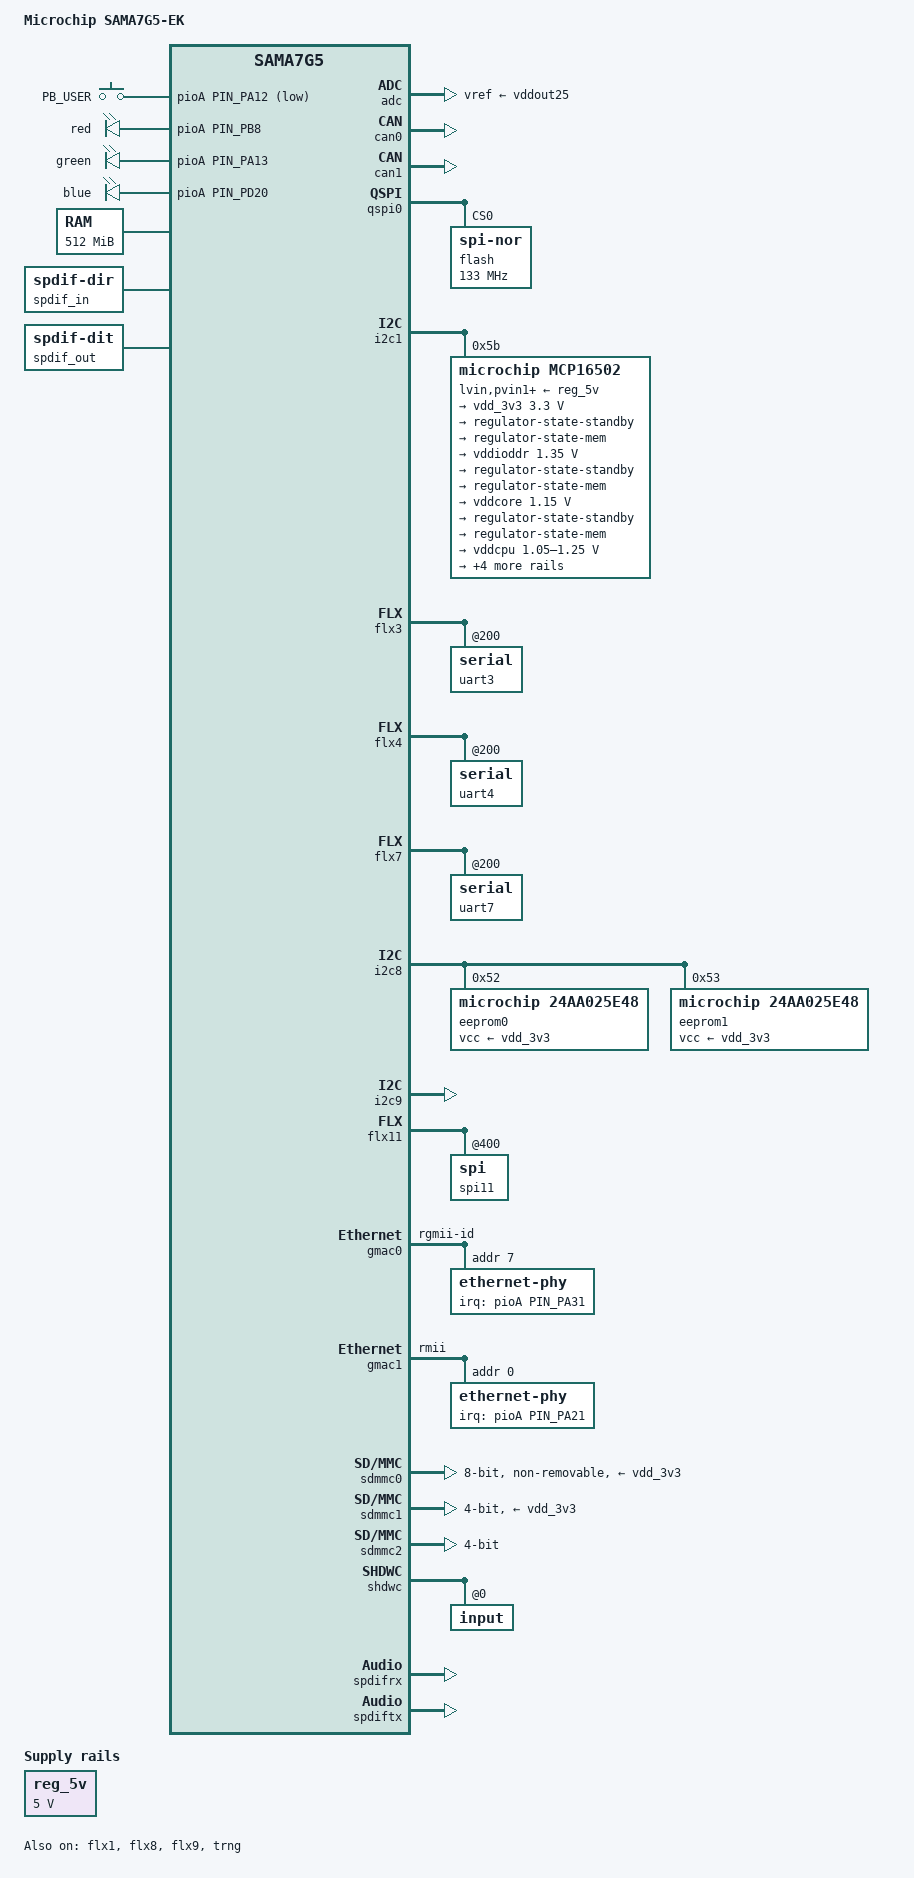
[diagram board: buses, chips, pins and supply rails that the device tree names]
// SPDX-License-Identifier: (GPL-2.0+ OR MIT)
/*
 *  at91-sama7g5ek.dts - Device Tree file for SAMA7G5-EK board
 *
 *  Copyright (c) 2020 Microchip Technology Inc. and its subsidiaries
 *
 *  Author: Eugen Hristev <eugen.hristev@microchip.com>
 *  Author: Claudiu Beznea <claudiu.beznea@microchip.com>
 *
 */
/dts-v1/;
#include "sama7g5-pinfunc.h"
#include "sama7g5.dtsi"
#include <dt-bindings/mfd/atmel-flexcom.h>
#include <dt-bindings/input/input.h>
#include <dt-bindings/pinctrl/at91.h>
#include <dt-bindings/sound/microchip,pdmc.h>

/ {
	model = "Microchip SAMA7G5-EK";
	compatible = "microchip,sama7g5ek", "microchip,sama7g5", "microchip,sama7";

	chosen {
		bootargs = "rw root=/dev/mmcblk1p2 rootfstype=ext4 rootwait";
		stdout-path = "serial0:115200n8";
	};

	aliases {
		serial0 = &uart3;
		serial1 = &uart4;
		serial2 = &uart7;
		serial3 = &uart0;
		i2c0 = &i2c1;
		i2c1 = &i2c8;
		i2c2 = &i2c9;
	};

	clocks {
		slow_xtal {
			clock-frequency = <32768>;
		};

		main_xtal {
			clock-frequency = <24000000>;
		};
	};

	gpio-keys {
		compatible = "gpio-keys";

		pinctrl-names = "default";
		pinctrl-0 = <&pinctrl_key_gpio_default>;

		button {
			label = "PB_USER";
			gpios = <&pioA PIN_PA12 GPIO_ACTIVE_LOW>;
			linux,code = <KEY_PROG1>;
			wakeup-source;
		};
	};

	leds {
		compatible = "gpio-leds";
		pinctrl-names = "default";
		pinctrl-0 = <&pinctrl_led_gpio_default>;
		status = "okay"; /* Conflict with pwm. */

		red_led {
			label = "red";
			gpios = <&pioA PIN_PB8 GPIO_ACTIVE_HIGH>;
		};

		green_led {
			label = "green";
			gpios = <&pioA PIN_PA13 GPIO_ACTIVE_HIGH>;
		};

		blue_led {
			label = "blue";
			gpios = <&pioA PIN_PD20 GPIO_ACTIVE_HIGH>;
			linux,default-trigger = "heartbeat";
		};
	};

	/* 512 M */
	memory@60000000 {
		device_type = "memory";
		reg = <0x60000000 0x20000000>;
	};

	reg_5v: regulator-5v {
		compatible = "regulator-fixed";
		regulator-name = "5V_MAIN";
		regulator-min-microvolt = <5000000>;
		regulator-max-microvolt = <5000000>;
		regulator-always-on;
	};

	sound: sound {
		compatible = "simple-audio-card";
		simple-audio-card,name = "sama7g5ek audio";
		#address-cells = <1>;
		#size-cells = <0>;
		simple-audio-card,dai-link@0 {
			reg = <0>;
			cpu {
				sound-dai = <&spdiftx>;
			};
			codec {
				sound-dai = <&spdif_out>;
			};
		};
		simple-audio-card,dai-link@1 {
			reg = <1>;
			cpu {
				sound-dai = <&spdifrx>;
			};
			codec {
				sound-dai = <&spdif_in>;
			};
		};
	};

	spdif_in: spdif-in {
		#sound-dai-cells = <0>;
		compatible = "linux,spdif-dir";
	};

	spdif_out: spdif-out {
		#sound-dai-cells = <0>;
		compatible = "linux,spdif-dit";
	};
};

&adc {
	vddana-supply = <&vddout25>;
	vref-supply = <&vddout25>;
	pinctrl-names = "default";
	pinctrl-0 = <&pinctrl_mikrobus1_an_default &pinctrl_mikrobus2_an_default>;
	status = "okay";
};

&can0 {
	pinctrl-names = "default";
	pinctrl-0 = <&pinctrl_can0_default>;
	status = "okay";
};

&can1 {
	pinctrl-names = "default";
	pinctrl-0 = <&pinctrl_can1_default>;
	status = "okay";
};

&cpu0 {
	cpu-supply = <&vddcpu>;
};

&qspi0 {
	pinctrl-names = "default";
	pinctrl-0 = <&pinctrl_qspi>;
	status = "okay";

	flash@0 {
		#address-cells = <1>;
		#size-cells = <1>;
		compatible = "jedec,spi-nor";
		reg = <0>;
		spi-max-frequency = <133000000>;
		spi-tx-bus-width = <8>;
		spi-rx-bus-width = <8>;
		m25p,fast-read;

		at91bootstrap@0 {
			label = "ospi: at91bootstrap";
			reg = <0x0 0x40000>;
		};

		bootloader@40000 {
			label = "ospi: bootloader";
			reg = <0x40000 0xc0000>;
		};

		bootloaderenvred@100000 {
			label = "ospi: bootloader env redundant";
			reg = <0x100000 0x40000>;
		};

		bootloaderenv@140000 {
			label = "ospi: bootloader env";
			reg = <0x140000 0x40000>;
		};

		dtb@180000 {
			label = "ospi: device tree";
			reg = <0x180000 0x80000>;
		};

		kernel@200000 {
			label = "ospi: kernel";
			reg = <0x200000 0x600000>;
		};

		rootfs@800000 {
			label = "ospi: rootfs";
			reg = <0x800000 0x7800000>;
		};

	};
};

&dma0 {
	status = "okay";
};

&dma1 {
	status = "okay";
};

&dma2 {
	status = "okay";
};

&flx0 {
	atmel,flexcom-mode = <ATMEL_FLEXCOM_MODE_USART>;
	status = "disabled";

	uart0: serial@200 {
		pinctrl-names = "default";
		pinctrl-0 = <&pinctrl_flx0_default>;
		status = "disabled";
	};
};

&flx1 {
	atmel,flexcom-mode = <ATMEL_FLEXCOM_MODE_TWI>;
	status = "okay";

	i2c1: i2c@600 {
		pinctrl-names = "default";
		pinctrl-0 = <&pinctrl_i2c1_default>;
		i2c-analog-filter;
		i2c-digital-filter;
		i2c-digital-filter-width-ns = <35>;
		status = "okay";

		mcp16502@5b {
			compatible = "microchip,mcp16502";
			reg = <0x5b>;
			lvin-supply = <&reg_5v>;
			pvin1-supply = <&reg_5v>;
			pvin2-supply = <&reg_5v>;
			pvin3-supply = <&reg_5v>;
			pvin4-supply = <&reg_5v>;
			status = "okay";

			regulators {
				vdd_3v3: VDD_IO {
					regulator-name = "VDD_IO";
					regulator-min-microvolt = <3300000>;
					regulator-max-microvolt = <3300000>;
					regulator-initial-mode = <2>;
					regulator-allowed-modes = <2>, <4>;
					regulator-always-on;

					regulator-state-standby {
						regulator-on-in-suspend;
						regulator-suspend-microvolt = <3300000>;
						regulator-mode = <4>;
					};

					regulator-state-mem {
						regulator-off-in-suspend;
						regulator-mode = <4>;
					};
				};

				vddioddr: VDD_DDR {
					regulator-name = "VDD_DDR";
					regulator-min-microvolt = <1350000>;
					regulator-max-microvolt = <1350000>;
					regulator-initial-mode = <2>;
					regulator-allowed-modes = <2>, <4>;
					regulator-always-on;

					regulator-state-standby {
						regulator-on-in-suspend;
						regulator-suspend-microvolt = <1350000>;
						regulator-mode = <4>;
					};

					regulator-state-mem {
						regulator-on-in-suspend;
						regulator-suspend-microvolt = <1350000>;
						regulator-mode = <4>;
					};
				};

				vddcore: VDD_CORE {
					regulator-name = "VDD_CORE";
					regulator-min-microvolt = <1150000>;
					regulator-max-microvolt = <1150000>;
					regulator-initial-mode = <2>;
					regulator-allowed-modes = <2>, <4>;
					regulator-always-on;

					regulator-state-standby {
						regulator-on-in-suspend;
						regulator-suspend-microvolt = <1150000>;
						regulator-mode = <4>;
					};

					regulator-state-mem {
						regulator-off-in-suspend;
						regulator-mode = <4>;
					};
				};

				vddcpu: VDD_OTHER {
					regulator-name = "VDD_OTHER";
					regulator-min-microvolt = <1050000>;
					regulator-max-microvolt = <1250000>;
					regulator-initial-mode = <2>;
					regulator-allowed-modes = <2>, <4>;
					regulator-ramp-delay = <3125>;
					regulator-always-on;

					regulator-state-standby {
						regulator-on-in-suspend;
						regulator-suspend-microvolt = <1050000>;
						regulator-mode = <4>;
					};

					regulator-state-mem {
						regulator-off-in-suspend;
						regulator-mode = <4>;
					};
				};

				vldo1: LDO1 {
					regulator-name = "LDO1";
					regulator-min-microvolt = <1800000>;
					regulator-max-microvolt = <1800000>;
					regulator-always-on;

					regulator-state-standby {
						regulator-suspend-microvolt = <1800000>;
						regulator-on-in-suspend;
					};

					regulator-state-mem {
						regulator-off-in-suspend;
					};
				};

				vldo2: LDO2 {
					regulator-name = "LDO2";
					regulator-min-microvolt = <1200000>;
					regulator-max-microvolt = <3700000>;

					regulator-state-standby {
						regulator-suspend-microvolt = <1800000>;
						regulator-on-in-suspend;
					};

					regulator-state-mem {
						regulator-off-in-suspend;
					};
				};
			};
		};
	};
};

&flx3 {
	atmel,flexcom-mode = <ATMEL_FLEXCOM_MODE_USART>;
	status = "okay";

	uart3: serial@200 {
		pinctrl-names = "default";
		pinctrl-0 = <&pinctrl_flx3_default>;
		status = "okay";
	};
};

&flx4 {
	atmel,flexcom-mode = <ATMEL_FLEXCOM_MODE_USART>;
	status = "okay";

	uart4: serial@200 {
		pinctrl-names = "default";
		pinctrl-0 = <&pinctrl_flx4_default>;
		status = "okay";
	};
};

&flx7 {
	atmel,flexcom-mode = <ATMEL_FLEXCOM_MODE_USART>;
	status = "okay";

	uart7: serial@200 {
		pinctrl-names = "default";
		pinctrl-0 = <&pinctrl_flx7_default>;
		status = "okay";
	};
};

&flx8 {
	atmel,flexcom-mode = <ATMEL_FLEXCOM_MODE_TWI>;
	status = "okay";

	i2c8: i2c@600 {
		pinctrl-names = "default";
		pinctrl-0 = <&pinctrl_i2c8_default>;
		i2c-analog-filter;
		i2c-digital-filter;
		i2c-digital-filter-width-ns = <35>;
		status = "okay";

		eeprom0: eeprom@52 {
			compatible = "microchip,24aa025e48";
			reg = <0x52>;
			size = <256>;
			pagesize = <16>;
			vcc-supply = <&vdd_3v3>;

			nvmem-layout {
				compatible = "fixed-layout";
				#address-cells = <1>;
				#size-cells = <1>;

				eeprom0_eui48: eui48@fa {
					reg = <0xfa 0x6>;
				};
			};
		};

		eeprom1: eeprom@53 {
			compatible = "microchip,24aa025e48";
			reg = <0x53>;
			size = <256>;
			pagesize = <16>;
			vcc-supply = <&vdd_3v3>;

			nvmem-layout {
				compatible = "fixed-layout";
				#address-cells = <1>;
				#size-cells = <1>;

				eeprom1_eui48: eui48@fa {
					reg = <0xfa 0x6>;
				};
			};
		};
	};
};

&flx9 {
	atmel,flexcom-mode = <ATMEL_FLEXCOM_MODE_TWI>;
	status = "okay";

	i2c9: i2c@600 {
		pinctrl-names = "default";
		pinctrl-0 = <&pinctrl_i2c9_default>;
		i2c-analog-filter;
		i2c-digital-filter;
		i2c-digital-filter-width-ns = <35>;
		status = "okay";
	};
};

&flx11 {
	atmel,flexcom-mode = <ATMEL_FLEXCOM_MODE_SPI>;
	status = "okay";

	spi11: spi@400 {
		pinctrl-names = "default";
		pinctrl-0 = <&pinctrl_mikrobus1_spi &pinctrl_mikrobus1_spi_cs>;
		status = "okay";
	};
};

&gmac0 {
	#address-cells = <1>;
	#size-cells = <0>;
	pinctrl-names = "default";
	pinctrl-0 = <&pinctrl_gmac0_default
		     &pinctrl_gmac0_mdio_default
		     &pinctrl_gmac0_txck_default
		     &pinctrl_gmac0_phy_irq>;
	phy-mode = "rgmii-id";
	nvmem-cells = <&eeprom0_eui48>;
	nvmem-cell-names = "mac-address";
	status = "okay";

	ethernet-phy@7 {
		reg = <0x7>;
		interrupt-parent = <&pioA>;
		interrupts = <PIN_PA31 IRQ_TYPE_LEVEL_LOW>;
	};
};

&gmac1 {
	#address-cells = <1>;
	#size-cells = <0>;
	pinctrl-names = "default";
	pinctrl-0 = <&pinctrl_gmac1_default
		     &pinctrl_gmac1_mdio_default
		     &pinctrl_gmac1_phy_irq>;
	phy-mode = "rmii";
	nvmem-cells = <&eeprom1_eui48>;
	nvmem-cell-names = "mac-address";
	status = "okay"; /* Conflict with pdmc0. */

	ethernet-phy@0 {
		reg = <0x0>;
		interrupt-parent = <&pioA>;
		interrupts = <PIN_PA21 IRQ_TYPE_LEVEL_LOW>;
	};
};

&i2s0 {
	pinctrl-names = "default";
	pinctrl-0 = <&pinctrl_i2s0_default>;
};

&pdmc0 {
	#sound-dai-cells = <0>;
	microchip,mic-pos = <MCHP_PDMC_DS0 MCHP_PDMC_CLK_NEGATIVE>, /* MIC 1 */
			    <MCHP_PDMC_DS1 MCHP_PDMC_CLK_NEGATIVE>, /* MIC 2 */
			    <MCHP_PDMC_DS0 MCHP_PDMC_CLK_POSITIVE>, /* MIC 3 */
			    <MCHP_PDMC_DS1 MCHP_PDMC_CLK_POSITIVE>; /* MIC 4 */
	status = "disabled"; /* Conflict with gmac1. */
	pinctrl-names = "default";
	pinctrl-0 = <&pinctrl_pdmc0_default>;
};

&pioA {

	pinctrl_can0_default: can0_default {
		pinmux = <PIN_PD12__CANTX0>,
			 <PIN_PD13__CANRX0 >;
		bias-disable;
	};

	pinctrl_can1_default: can1_default {
		pinmux = <PIN_PD14__CANTX1>,
			 <PIN_PD15__CANRX1 >;
		bias-disable;
	};

	pinctrl_flx0_default: flx0_default {
		pinmux = <PIN_PE3__FLEXCOM0_IO0>,
			 <PIN_PE4__FLEXCOM0_IO1>,
			 <PIN_PE6__FLEXCOM0_IO3>,
			 <PIN_PE7__FLEXCOM0_IO4>;
		bias-disable;
	};

	pinctrl_flx3_default: flx3_default {
		pinmux = <PIN_PD16__FLEXCOM3_IO0>,
			 <PIN_PD17__FLEXCOM3_IO1>;
		bias-pull-up;
	};

	pinctrl_flx4_default: flx4_default {
		pinmux = <PIN_PD18__FLEXCOM4_IO0>,
			 <PIN_PD19__FLEXCOM4_IO1>;
		bias-disable;
	};

	pinctrl_flx7_default: flx7_default {
		pinmux = <PIN_PC23__FLEXCOM7_IO0>,
			 <PIN_PC24__FLEXCOM7_IO1>;
		bias-disable;
	};

	pinctrl_gmac0_default: gmac0_default {
		pinmux = <PIN_PA16__G0_TX0>,
			 <PIN_PA17__G0_TX1>,
			 <PIN_PA26__G0_TX2>,
			 <PIN_PA27__G0_TX3>,
			 <PIN_PA19__G0_RX0>,
			 <PIN_PA20__G0_RX1>,
			 <PIN_PA28__G0_RX2>,
			 <PIN_PA29__G0_RX3>,
			 <PIN_PA15__G0_TXEN>,
			 <PIN_PA30__G0_RXCK>,
			 <PIN_PA18__G0_RXDV>,
			 <PIN_PA25__G0_125CK>;
		slew-rate = <0>;
		bias-disable;
	};

	pinctrl_gmac0_mdio_default: gmac0_mdio_default {
		pinmux = <PIN_PA22__G0_MDC>,
			 <PIN_PA23__G0_MDIO>;
		bias-disable;
	};

	pinctrl_gmac0_txck_default: gmac0_txck_default {
		pinmux = <PIN_PA24__G0_TXCK>;
		slew-rate = <0>;
		bias-pull-up;
	};

	pinctrl_gmac0_phy_irq: gmac0_phy_irq {
		pinmux = <PIN_PA31__GPIO>;
		bias-disable;
	};

	pinctrl_gmac1_default: gmac1_default {
		pinmux = <PIN_PD30__G1_TXCK>,
			 <PIN_PD22__G1_TX0>,
			 <PIN_PD23__G1_TX1>,
			 <PIN_PD21__G1_TXEN>,
			 <PIN_PD25__G1_RX0>,
			 <PIN_PD26__G1_RX1>,
			 <PIN_PD27__G1_RXER>,
			 <PIN_PD24__G1_RXDV>;
		slew-rate = <0>;
		bias-disable;
	};

	pinctrl_gmac1_mdio_default: gmac1_mdio_default {
		pinmux = <PIN_PD28__G1_MDC>,
			 <PIN_PD29__G1_MDIO>;
		bias-disable;
	};

	pinctrl_gmac1_phy_irq: gmac1_phy_irq {
		pinmux = <PIN_PA21__GPIO>;
		bias-disable;
	};

	pinctrl_i2c1_default: i2c1_default {
		pinmux = <PIN_PC9__FLEXCOM1_IO0>,
			 <PIN_PC10__FLEXCOM1_IO1>;
		bias-disable;
	};

	pinctrl_i2c8_default: i2c8_default {
		pinmux = <PIN_PC14__FLEXCOM8_IO0>,
			 <PIN_PC13__FLEXCOM8_IO1>;
		bias-disable;
	};

	pinctrl_i2c9_default: i2c9_default {
		pinmux = <PIN_PC18__FLEXCOM9_IO0>,
			 <PIN_PC19__FLEXCOM9_IO1>;
		bias-disable;
	};

	pinctrl_i2s0_default: i2s0_default {
		pinmux = <PIN_PB23__I2SMCC0_CK>,
			 <PIN_PB24__I2SMCC0_WS>,
			 <PIN_PB25__I2SMCC0_DOUT1>,
			 <PIN_PB26__I2SMCC0_DOUT0>,
			 <PIN_PB27__I2SMCC0_MCK>;
		bias-disable;
	};

	pinctrl_key_gpio_default: key_gpio_default {
		pinmux = <PIN_PA12__GPIO>;
		bias-pull-up;
	};

	pinctrl_led_gpio_default: led_gpio_default {
		pinmux = <PIN_PA13__GPIO>,
			 <PIN_PB8__GPIO>,
			 <PIN_PD20__GPIO>;
		bias-pull-up;
	};

	pinctrl_mikrobus1_an_default: mikrobus1_an_default {
		pinmux = <PIN_PD0__GPIO>;
		bias-disable;
	};

	pinctrl_mikrobus2_an_default: mikrobus2_an_default {
		pinmux = <PIN_PD1__GPIO>;
		bias-disable;
	};

	pinctrl_mikrobus1_pwm2_default: mikrobus1_pwm2_default {
		pinmux = <PIN_PA13__PWMH2>;
		bias-disable;
	};

	pinctrl_mikrobus2_pwm3_default: mikrobus2_pwm3_default {
		pinmux = <PIN_PD20__PWMH3>;
		bias-disable;
	};

	pinctrl_mikrobus1_spi_cs: mikrobus1_spi_cs {
		pinmux = <PIN_PB6__FLEXCOM11_IO3>;
		bias-disable;
	};

	pinctrl_mikrobus1_spi: mikrobus1_spi {
		pinmux = <PIN_PB3__FLEXCOM11_IO0>,
			 <PIN_PB4__FLEXCOM11_IO1>,
			 <PIN_PB5__FLEXCOM11_IO2>;
		bias-disable;
	};

	pinctrl_pdmc0_default: pdmc0_default {
		pinmux = <PIN_PD23__PDMC0_DS0>,
			 <PIN_PD24__PDMC0_DS1>,
			 <PIN_PD22__PDMC0_CLK>;
		bias_disable;
	};

	pinctrl_qspi: qspi {
		pinmux = <PIN_PB12__QSPI0_IO0>,
			 <PIN_PB11__QSPI0_IO1>,
			 <PIN_PB10__QSPI0_IO2>,
			 <PIN_PB9__QSPI0_IO3>,
			 <PIN_PB16__QSPI0_IO4>,
			 <PIN_PB17__QSPI0_IO5>,
			 <PIN_PB18__QSPI0_IO6>,
			 <PIN_PB19__QSPI0_IO7>,
			 <PIN_PB13__QSPI0_CS>,
			 <PIN_PB14__QSPI0_SCK>,
			 <PIN_PB15__QSPI0_SCKN>,
			 <PIN_PB20__QSPI0_DQS>,
			 <PIN_PB21__QSPI0_INT>;
		bias-disable;
		slew-rate = <0>;
		atmel,drive-strength = <ATMEL_PIO_DRVSTR_ME>;
	};

	pinctrl_sdmmc0_default: sdmmc0_default {
		cmd_data {
			pinmux = <PIN_PA1__SDMMC0_CMD>,
				 <PIN_PA3__SDMMC0_DAT0>,
				 <PIN_PA4__SDMMC0_DAT1>,
				 <PIN_PA5__SDMMC0_DAT2>,
				 <PIN_PA6__SDMMC0_DAT3>,
				 <PIN_PA7__SDMMC0_DAT4>,
				 <PIN_PA8__SDMMC0_DAT5>,
				 <PIN_PA9__SDMMC0_DAT6>,
				 <PIN_PA10__SDMMC0_DAT7>;
			slew-rate = <0>;
			bias-pull-up;
		};

		ck_cd_rstn_vddsel {
			pinmux = <PIN_PA0__SDMMC0_CK>,
				 <PIN_PA2__SDMMC0_RSTN>,
				 <PIN_PA11__SDMMC0_DS>;
			slew-rate = <0>;
			bias-pull-up;
		};
	};

	pinctrl_sdmmc1_default: sdmmc1_default {
		cmd_data {
			pinmux = <PIN_PB29__SDMMC1_CMD>,
				 <PIN_PB31__SDMMC1_DAT0>,
				 <PIN_PC0__SDMMC1_DAT1>,
				 <PIN_PC1__SDMMC1_DAT2>,
				 <PIN_PC2__SDMMC1_DAT3>;
			slew-rate = <0>;
			bias-pull-up;
		};

		ck_cd_rstn_vddsel {
			pinmux = <PIN_PB30__SDMMC1_CK>,
				 <PIN_PB28__SDMMC1_RSTN>,
				 <PIN_PC5__SDMMC1_1V8SEL>,
				 <PIN_PC4__SDMMC1_CD>;
			slew-rate = <0>;
			bias-pull-up;
		};
	};

	pinctrl_sdmmc2_default: sdmmc2_default {
		cmd_data {
			pinmux = <PIN_PD3__SDMMC2_CMD>,
				 <PIN_PD5__SDMMC2_DAT0>,
				 <PIN_PD6__SDMMC2_DAT1>,
				 <PIN_PD7__SDMMC2_DAT2>,
				 <PIN_PD8__SDMMC2_DAT3>;
			slew-rate = <0>;
			bias-pull-up;
		};

		ck {
			pinmux = <PIN_PD4__SDMMC2_CK>;
			slew-rate = <0>;
			bias-pull-up;
		};
	};

	pinctrl_spdifrx_default: spdifrx_default {
		pinmux = <PIN_PB0__SPDIF_RX>;
		bias-disable;
	};

	pinctrl_spdiftx_default: spdiftx_default {
		pinmux = <PIN_PB1__SPDIF_TX>;
		bias-disable;
	};
};

&pwm {
	pinctrl-names = "default";
	pinctrl-0 = <&pinctrl_mikrobus1_pwm2_default &pinctrl_mikrobus2_pwm3_default>;
	status = "disabled"; /* Conflict with leds. */
};

&rtt {
	atmel,rtt-rtc-time-reg = <&gpbr 0x0>;
};

&sdmmc0 {
	bus-width = <8>;
	non-removable;
	sdhci-caps-mask = <0x0 0x00200000>;
	vmmc-supply = <&vdd_3v3>;
	vqmmc-supply = <&vldo1>;
	pinctrl-names = "default";
	pinctrl-0 = <&pinctrl_sdmmc0_default>;
	status = "okay";
};

&sdmmc1 {
	bus-width = <4>;
	no-1-8-v;
	sdhci-caps-mask = <0x0 0x00200000>;
	vmmc-supply = <&vdd_3v3>;
	vqmmc-supply = <&vdd_3v3>;
	pinctrl-names = "default";
	pinctrl-0 = <&pinctrl_sdmmc1_default>;
	status = "okay";
};

&sdmmc2 {
	bus-width = <4>;
	no-1-8-v;
	sdhci-caps-mask = <0x0 0x00200000>;
	pinctrl-names = "default";
	pinctrl-0 = <&pinctrl_sdmmc2_default>;
};

&shdwc {
	debounce-delay-us = <976>;
	status = "okay";

	input@0 {
		reg = <0>;
	};
};

&spdifrx {
	pinctrl-names = "default";
	pinctrl-0 = <&pinctrl_spdifrx_default>;
	status = "okay";
};

&spdiftx {
	pinctrl-names = "default";
	pinctrl-0 = <&pinctrl_spdiftx_default>;
	status = "okay";
};

&tcb0 {
	timer0: timer@0 {
		compatible = "atmel,tcb-timer";
		reg = <0>;
	};

	timer1: timer@1 {
		compatible = "atmel,tcb-timer";
		reg = <1>;
	};
};

&trng {
	status = "okay";
};

&vddout25 {
	vin-supply = <&vdd_3v3>;
	status = "okay";
};
